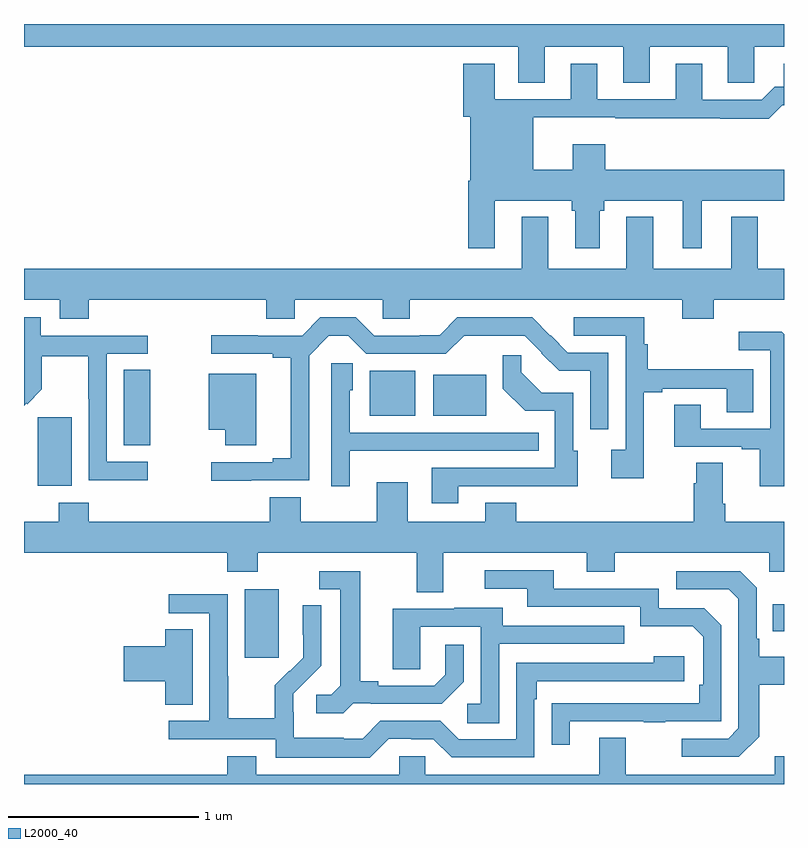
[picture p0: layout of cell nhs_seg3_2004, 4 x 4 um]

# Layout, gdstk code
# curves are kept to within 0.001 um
import gdstk
lib = gdstk.Library(unit=1e-6, precision=1e-09)
def R(c, l, rs):  # rectangles x0, y0, x1, y1
    for r in rs: c.add(gdstk.rectangle(r[:2], r[2:], *l))
def P(c, l, *ps):  # polygons
    for p in ps: c.add(gdstk.Polygon(p, *l))
L2000_40 = (2000, 40)

nhs_seg3_2004 = lib.new_cell('nhs_seg3_2004')
R(nhs_seg3_2004, L2000_40, [(216.161,667.065,216.34,667.426), (218.941,667.205,219,667.345), (215.072,667.97,215.251,668.331), (215.525,668.182,215.664,668.579), (216.821,668.339,217.06,668.575), (217.154,668.339,217.432,668.554)])
P(nhs_seg3_2004, L2000_40, [(217.741,670.28),(218.153,670.28),(218.153,670.09),(218.293,670.09),(218.293,670.28),(218.705,670.28),(218.705,670.09),(218.844,670.09),(218.844,670.28),(219,670.28),(219,670.4),(215,670.4),(215,670.28),(217.601,670.28),(217.601,670.09),(217.741,670.09)],
  [(217.477,669.47),(217.882,669.47),(217.882,669.417),(217.901,669.417),(217.901,669.219),(218.029,669.219),(218.029,669.417),(218.055,669.417),(218.055,669.47),(218.468,669.47),(218.468,669.219),(218.566,669.219),(218.566,669.47),(219,669.47),(219,669.634),(218.06,669.634),(218.06,669.766),(217.889,669.766),(217.889,669.634),(217.681,669.634),(217.681,669.908),(218.113,669.908),(218.113,669.904),(218.665,669.904),(218.665,669.902),(218.921,669.902),(218.991,669.972),(219,669.972),(219,670.192),(218.999,670.069),(218.95,670.069),(218.883,670.002),(218.569,670.002),(218.569,670.192),(218.429,670.192),(218.429,670.005),(218.017,670.005),(218.017,670.192),(217.877,670.192),(217.877,670.005),(217.477,670.005),(217.477,670.192),(217.313,670.192),(217.313,669.912),(217.349,669.912),(217.349,669.574),(217.337,669.574),(217.337,669.219),(217.477,669.219)],
  [(215.342,668.948),(216.275,668.948),(216.275,668.85),(216.426,668.85),(216.426,668.948),(216.888,668.948),(216.888,668.85),(217.03,668.85),(217.03,668.948),(218.465,668.948),(218.465,668.849),(218.629,668.849),(218.629,668.948),(219,668.948),(219,669.112),(218.863,669.112),(218.863,669.385),(218.723,669.385),(218.723,669.112),(218.311,669.112),(218.311,669.385),(218.171,669.385),(218.171,669.112),(217.759,669.112),(217.759,669.385),(217.619,669.385),(217.619,669.112),(215,669.112),(215,668.948),(215.189,668.948),(215.189,668.849),(215.342,668.849)],
  [(215.65,668.097),(215.436,668.097),(215.436,668.664),(215.65,668.664),(215.65,668.76),(215.088,668.76),(215.088,668.857),(215,668.857),(215,668.39),(215.013,668.403),(215.016,668.4),(215.093,668.477),(215.093,668.652),(215.338,668.652),(215.338,668.428),(215.34,668.428),(215.34,667.999),(215.65,667.999)],
  [(216.197,667.998),(216.501,667.998),(216.501,668.655),(216.605,668.759),(216.706,668.759),(216.801,668.664),(217.221,668.664),(217.316,668.759),(217.635,668.76),(217.725,668.67),(217.723,668.668),(217.817,668.574),(217.98,668.574),(217.98,668.268),(218.076,668.268),(218.076,668.67),(217.863,668.67),(217.675,668.856),(217.281,668.856),(217.187,668.762),(217.082,668.762),(217.082,668.76),(216.843,668.76),(216.747,668.856),(216.56,668.856),(216.464,668.76),(216.231,668.76),(216.231,668.762),(215.985,668.762),(215.985,668.664),(216.308,668.664),(216.308,668.644),(216.404,668.644),(216.404,668.114),(216.308,668.114),(216.308,668.094),(215.985,668.094),(215.985,667.997)],
  [(218.263,668.461),(218.359,668.461),(218.359,668.481),(218.699,668.481),(218.699,668.356),(218.839,668.356),(218.839,668.582),(218.282,668.582),(218.282,668.714),(218.264,668.714),(218.264,668.856),(217.893,668.856),(217.893,668.76),(218.166,668.76),(218.166,668.158),(218.091,668.158),(218.091,668.01),(218.263,668.01)],
  [(219,668.766),(218.987,668.779),(218.763,668.779),(218.763,668.682),(218.928,668.682),(218.928,668.271),(218.563,668.271),(218.563,668.396),(218.423,668.396),(218.423,668.175),(218.777,668.175),(218.777,668.163),(218.873,668.163),(218.873,667.968),(219,667.968)],
  [(217.285,667.968),(217.915,667.967),(217.915,668.154),(217.89,668.154),(217.89,668.46),(217.724,668.46),(217.616,668.568),(217.616,668.656),(217.521,668.656),(217.521,668.48),(217.637,668.364),(217.794,668.364),(217.794,668.064),(217.145,668.064),(217.145,667.878),(217.285,667.878)],
  [(216.715,668.153),(217.049,668.153),(217.049,668.154),(217.709,668.154),(217.709,668.25),(216.714,668.25),(216.714,668.472),(216.73,668.472),(216.73,668.615),(216.618,668.615),(216.618,667.968),(216.715,667.968)],
  [(216.223,668.56),(215.972,668.56),(215.972,668.264),(216.058,668.264),(216.058,668.184),(216.223,668.184)],
  [(217.207,667.616),(217.961,667.616),(217.961,667.517),(218.109,667.517),(218.109,667.616),(218.922,667.616),(218.922,667.517),(219,667.517),(219,667.78),(218.69,667.78),(218.69,667.876),(218.677,667.876),(218.677,668.09),(218.537,668.09),(218.537,667.982),(218.525,667.982),(218.525,667.78),(217.591,667.78),(217.591,667.879),(217.427,667.879),(217.427,667.78),(217.021,667.78),(217.021,667.987),(216.857,667.987),(216.857,667.78),(216.457,667.78),(216.457,667.909),(216.293,667.909),(216.293,667.78),(215.342,667.78),(215.342,667.879),(215.182,667.879),(215.182,667.78),(215,667.78),(215,667.616),(216.071,667.616),(216.071,667.517),(216.231,667.517),(216.231,667.616),(217.067,667.616),(217.067,667.408),(217.207,667.408)],
  [(217.873,666.729),(218.263,666.729),(218.263,666.724),(218.375,666.724),(218.375,666.729),(218.67,666.729),(218.67,667.236),(218.58,667.326),(218.34,667.326),(218.34,667.428),(217.789,667.428),(217.789,667.524),(217.425,667.524),(217.425,667.428),(217.649,667.428),(217.649,667.332),(218.244,667.332),(218.244,667.229),(218.521,667.229),(218.574,667.176),(218.574,666.922),(218.554,666.922),(218.554,666.825),(217.777,666.824),(217.777,666.606),(217.873,666.606)],
  [(218.869,666.649),(218.869,666.922),(219,666.922),(219,667.069),(218.869,667.069),(218.869,667.165),(218.856,667.165),(218.856,667.434),(218.769,667.521),(218.433,667.521),(218.433,667.425),(218.709,667.425),(218.76,667.374),(218.76,666.693),(218.706,666.639),(218.463,666.639),(218.463,666.543),(218.763,666.543)],
  [(216.732,666.825),(216.826,666.825),(216.826,666.822),(217.198,666.822),(217.314,666.938),(217.314,667.132),(217.217,667.132),(217.217,666.975),(217.16,666.918),(216.865,666.918),(216.865,666.941),(216.769,666.941),(216.769,667.521),(216.555,667.521),(216.555,667.425),(216.665,667.425),(216.665,666.917),(216.618,666.87),(216.537,666.87),(216.537,666.773),(216.68,666.773)],
  [(216.921,666.639),(217.037,666.639),(217.037,666.636),(217.155,666.636),(217.251,666.54),(217.686,666.54),(217.686,666.845),(217.699,666.845),(217.699,666.942),(218.476,666.942),(218.476,667.072),(218.315,667.072),(218.315,667.038),(217.59,667.038),(217.59,666.636),(217.287,666.636),(217.191,666.732),(216.876,666.732),(216.783,666.639),(216.683,666.639),(216.683,666.643),(216.42,666.643),(216.42,666.777),(216.418,666.777),(216.418,666.874),(216.564,667.022),(216.564,667.34),(216.468,667.34),(216.468,667.186),(216.47,667.186),(216.47,667.064),(216.399,666.993),(216.396,666.996),(216.319,666.919),(216.319,666.745),(216.075,666.745),(216.075,666.968),(216.072,666.968),(216.072,667.398),(215.763,667.398),(215.763,667.299),(215.976,667.299),(215.976,666.732),(215.763,666.732),(215.763,666.636),(216.324,666.636),(216.324,666.539),(216.821,666.539)],
  [(217.5,667.137),(218.159,667.137),(218.159,667.233),(217.519,667.233),(217.519,667.327),(217.265,667.327),(217.265,667.323),(216.941,667.323),(216.941,667.003),(217.086,667.003),(217.086,667.227),(217.404,667.227),(217.404,666.822),(217.332,666.822),(217.332,666.721),(217.5,666.721)],
  [(215.887,667.214),(215.744,667.214),(215.744,667.124),(215.526,667.124),(215.526,666.941),(215.744,666.941),(215.744,666.817),(215.887,666.817)],
  [(219,666.547),(218.951,666.547),(218.951,666.448),(218.167,666.448),(218.167,666.643),(218.027,666.643),(218.027,666.448),(217.113,666.448),(217.113,666.546),(216.975,666.546),(216.975,666.448),(216.223,666.448),(216.223,666.547),(216.071,666.547),(216.071,666.448),(215,666.448),(215,666.4),(219,666.4)])

lib.write_gds('nhs_seg3_2004.gds')
